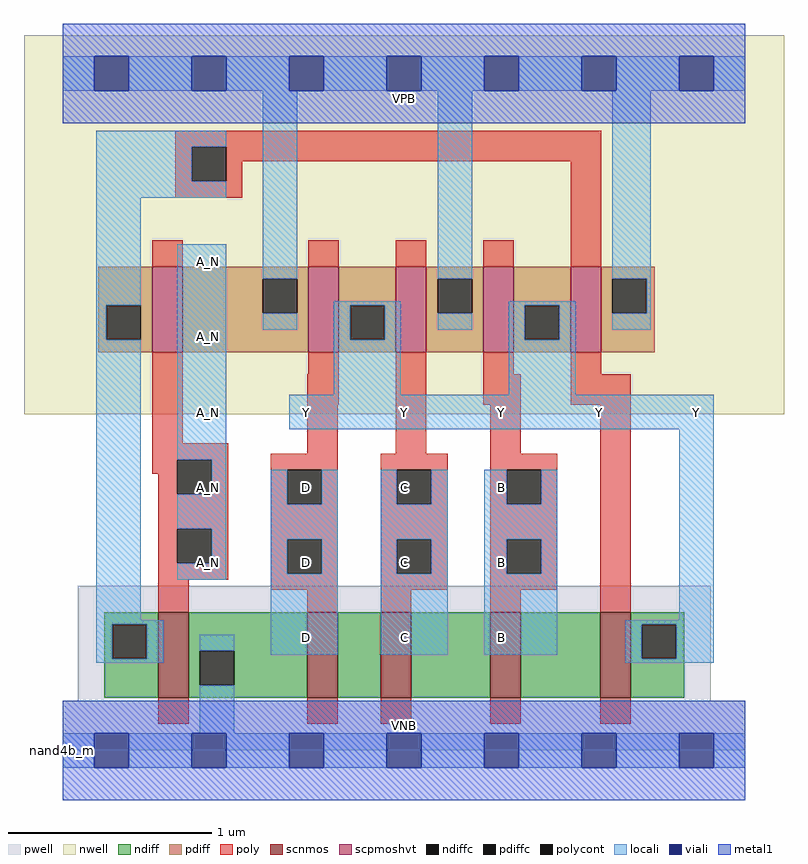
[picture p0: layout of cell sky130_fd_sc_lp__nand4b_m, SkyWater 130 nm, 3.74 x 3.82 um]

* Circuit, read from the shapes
.subckt sky130_fd_sc_lp__nand4b_m A_N B C D VGND VNB VPB VPWR Y
XM1 VGND A_N n1 VNB sky130_fd_pr__nfet_01v8 w=0.42 l=0.15
XM2 n2 D VGND VNB sky130_fd_pr__nfet_01v8 w=0.42 l=0.15
XM3 n3 C n2 VNB sky130_fd_pr__nfet_01v8 w=0.42 l=0.15
XM4 n4 B n3 VNB sky130_fd_pr__nfet_01v8 w=0.42 l=0.15
XM5 Y n1 n4 VNB sky130_fd_pr__nfet_01v8 w=0.42 l=0.15
XM6 VPWR A_N n1 VPB sky130_fd_pr__pfet_01v8_hvt w=0.42 l=0.15
XM7 Y D VPWR VPB sky130_fd_pr__pfet_01v8_hvt w=0.42 l=0.15
XM8 VPWR C Y VPB sky130_fd_pr__pfet_01v8_hvt w=0.42 l=0.15
XM9 Y B VPWR VPB sky130_fd_pr__pfet_01v8_hvt w=0.42 l=0.15
XM10 VPWR n1 Y VPB sky130_fd_pr__pfet_01v8_hvt w=0.42 l=0.15
.ends

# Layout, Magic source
magic
tech sky130A
magscale 1 2
<< nwell >>
rect -38 331 710 704
<< pwell >>
rect 15 49 638 162
rect 0 0 672 49
<< scnmos >>
rect 94 52 124 136
rect 241 52 271 136
rect 313 52 343 136
rect 421 52 451 136
rect 529 52 559 136
<< scpmoshvt >>
rect 88 392 118 476
rect 242 392 272 476
rect 328 392 358 476
rect 414 392 444 476
rect 500 392 530 476
<< ndiff >>
rect 41 124 94 136
rect 41 90 49 124
rect 83 90 94 124
rect 41 52 94 90
rect 124 98 241 136
rect 124 64 135 98
rect 169 64 241 98
rect 124 52 241 64
rect 271 52 313 136
rect 343 52 421 136
rect 451 52 529 136
rect 559 124 612 136
rect 559 90 570 124
rect 604 90 612 124
rect 559 52 612 90
<< pdiff >>
rect 35 438 88 476
rect 35 404 43 438
rect 77 404 88 438
rect 35 392 88 404
rect 118 464 242 476
rect 118 430 197 464
rect 231 430 242 464
rect 118 392 242 430
rect 272 438 328 476
rect 272 404 283 438
rect 317 404 328 438
rect 272 392 328 404
rect 358 464 414 476
rect 358 430 369 464
rect 403 430 414 464
rect 358 392 414 430
rect 444 438 500 476
rect 444 404 455 438
rect 489 404 500 438
rect 444 392 500 404
rect 530 464 583 476
rect 530 430 541 464
rect 575 430 583 464
rect 530 392 583 430
<< ndiffc >>
rect 49 90 83 124
rect 135 64 169 98
rect 570 90 604 124
<< pdiffc >>
rect 43 404 77 438
rect 197 430 231 464
rect 283 404 317 438
rect 369 430 403 464
rect 455 404 489 438
rect 541 430 575 464
<< poly >>
rect 111 594 530 610
rect 111 560 127 594
rect 161 580 530 594
rect 161 560 177 580
rect 111 544 177 560
rect 88 476 118 502
rect 242 476 272 502
rect 328 476 358 502
rect 414 476 444 502
rect 500 476 530 580
rect 88 302 118 392
rect 242 370 272 392
rect 241 340 272 370
rect 88 286 163 302
rect 241 292 271 340
rect 328 292 358 392
rect 414 370 444 392
rect 500 370 530 392
rect 414 340 451 370
rect 500 340 559 370
rect 421 292 451 340
rect 88 272 113 286
rect 94 252 113 272
rect 147 252 163 286
rect 94 218 163 252
rect 94 184 113 218
rect 147 184 163 218
rect 94 168 163 184
rect 205 276 271 292
rect 205 242 221 276
rect 255 242 271 276
rect 205 208 271 242
rect 205 174 221 208
rect 255 174 271 208
rect 94 136 124 168
rect 205 158 271 174
rect 241 136 271 158
rect 313 276 379 292
rect 313 242 329 276
rect 363 242 379 276
rect 313 208 379 242
rect 313 174 329 208
rect 363 174 379 208
rect 313 158 379 174
rect 421 276 487 292
rect 421 242 437 276
rect 471 242 487 276
rect 421 208 487 242
rect 421 174 437 208
rect 471 174 487 208
rect 421 158 487 174
rect 313 136 343 158
rect 421 136 451 158
rect 529 136 559 340
rect 94 26 124 52
rect 241 26 271 52
rect 313 26 343 52
rect 421 26 451 52
rect 529 26 559 52
<< polycont >>
rect 127 560 161 594
rect 113 252 147 286
rect 113 184 147 218
rect 221 242 255 276
rect 221 174 255 208
rect 329 242 363 276
rect 329 174 363 208
rect 437 242 471 276
rect 437 174 471 208
<< locali >>
rect 0 649 31 683
rect 65 649 127 683
rect 161 649 223 683
rect 257 649 319 683
rect 353 649 415 683
rect 449 649 511 683
rect 545 649 607 683
rect 641 649 672 683
rect 33 594 161 610
rect 33 560 127 594
rect 33 544 161 560
rect 33 438 77 544
rect 33 404 43 438
rect 33 128 77 404
rect 113 286 161 498
rect 197 464 231 649
rect 369 464 403 649
rect 197 414 231 430
rect 267 438 333 442
rect 267 404 283 438
rect 317 404 333 438
rect 541 464 579 649
rect 369 414 403 430
rect 439 438 505 442
rect 267 350 333 404
rect 439 404 455 438
rect 489 404 505 438
rect 575 430 579 464
rect 541 414 579 430
rect 439 350 505 404
rect 223 316 641 350
rect 147 252 161 286
rect 113 218 161 252
rect 147 184 161 218
rect 113 168 161 184
rect 205 242 221 276
rect 255 242 271 276
rect 205 208 271 242
rect 205 174 221 208
rect 255 174 271 208
rect 33 124 99 128
rect 33 90 49 124
rect 83 90 99 124
rect 33 86 99 90
rect 135 98 169 114
rect 205 94 271 174
rect 313 242 329 276
rect 363 242 379 276
rect 313 208 379 242
rect 313 174 329 208
rect 363 174 379 208
rect 313 94 379 174
rect 415 242 437 276
rect 471 242 487 276
rect 415 208 487 242
rect 415 174 437 208
rect 471 174 487 208
rect 415 94 487 174
rect 607 128 641 316
rect 554 124 641 128
rect 554 90 570 124
rect 604 90 641 124
rect 554 86 641 90
rect 135 17 169 64
rect 0 -17 31 17
rect 65 -17 127 17
rect 161 -17 223 17
rect 257 -17 319 17
rect 353 -17 415 17
rect 449 -17 511 17
rect 545 -17 607 17
rect 641 -17 672 17
<< viali >>
rect 31 649 65 683
rect 127 649 161 683
rect 223 649 257 683
rect 319 649 353 683
rect 415 649 449 683
rect 511 649 545 683
rect 607 649 641 683
rect 31 -17 65 17
rect 127 -17 161 17
rect 223 -17 257 17
rect 319 -17 353 17
rect 415 -17 449 17
rect 511 -17 545 17
rect 607 -17 641 17
<< metal1 >>
rect 0 683 672 715
rect 0 649 31 683
rect 65 649 127 683
rect 161 649 223 683
rect 257 649 319 683
rect 353 649 415 683
rect 449 649 511 683
rect 545 649 607 683
rect 641 649 672 683
rect 0 617 672 649
rect 0 17 672 49
rect 0 -17 31 17
rect 65 -17 127 17
rect 161 -17 223 17
rect 257 -17 319 17
rect 353 -17 415 17
rect 449 -17 511 17
rect 545 -17 607 17
rect 641 -17 672 17
rect 0 -49 672 -17
<< labels >>
flabel pwell s 0 0 672 49 0 FreeSans 200 0 0 0 VNB
port 6 nsew ground bidirectional
flabel nwell s 0 617 672 666 0 FreeSans 200 0 0 0 VPB
port 7 nsew power bidirectional
rlabel comment s 0 0 0 0 4 nand4b_m
flabel metal1 s 0 617 672 666 0 FreeSans 340 0 0 0 VPWR
port 8 nsew power bidirectional
flabel metal1 s 0 0 672 49 0 FreeSans 340 0 0 0 VGND
port 5 nsew ground bidirectional
flabel locali s 223 316 257 350 0 FreeSans 340 0 0 0 Y
port 9 nsew signal output
flabel locali s 319 316 353 350 0 FreeSans 340 0 0 0 Y
port 9 nsew signal output
flabel locali s 415 316 449 350 0 FreeSans 340 0 0 0 Y
port 9 nsew signal output
flabel locali s 511 316 545 350 0 FreeSans 340 0 0 0 Y
port 9 nsew signal output
flabel locali s 607 316 641 350 0 FreeSans 340 0 0 0 Y
port 9 nsew signal output
flabel locali s 415 94 449 128 0 FreeSans 340 0 0 0 B
port 2 nsew signal input
flabel locali s 415 168 449 202 0 FreeSans 340 0 0 0 B
port 2 nsew signal input
flabel locali s 415 242 449 276 0 FreeSans 340 0 0 0 B
port 2 nsew signal input
flabel locali s 319 94 353 128 0 FreeSans 340 0 0 0 C
port 3 nsew signal input
flabel locali s 319 168 353 202 0 FreeSans 340 0 0 0 C
port 3 nsew signal input
flabel locali s 319 242 353 276 0 FreeSans 340 0 0 0 C
port 3 nsew signal input
flabel locali s 223 94 257 128 0 FreeSans 340 0 0 0 D
port 4 nsew signal input
flabel locali s 223 168 257 202 0 FreeSans 340 0 0 0 D
port 4 nsew signal input
flabel locali s 223 242 257 276 0 FreeSans 340 0 0 0 D
port 4 nsew signal input
flabel locali s 127 168 161 202 0 FreeSans 340 0 0 0 A_N
port 1 nsew signal input
flabel locali s 127 242 161 276 0 FreeSans 340 0 0 0 A_N
port 1 nsew signal input
flabel locali s 127 316 161 350 0 FreeSans 340 0 0 0 A_N
port 1 nsew signal input
flabel locali s 127 390 161 424 0 FreeSans 340 0 0 0 A_N
port 1 nsew signal input
flabel locali s 127 464 161 498 0 FreeSans 340 0 0 0 A_N
port 1 nsew signal input
<< properties >>
string LEFsite unit
string LEFclass CORE
string FIXED_BBOX 0 0 672 666
string GDS_FILE $PDKPATH/libs.ref/sky130_fd_sc_lp/gds/sky130_fd_sc_lp.gds
string LEFsymmetry X Y R90
string GDS_END 776028
string GDS_START 768714
<< end >>
